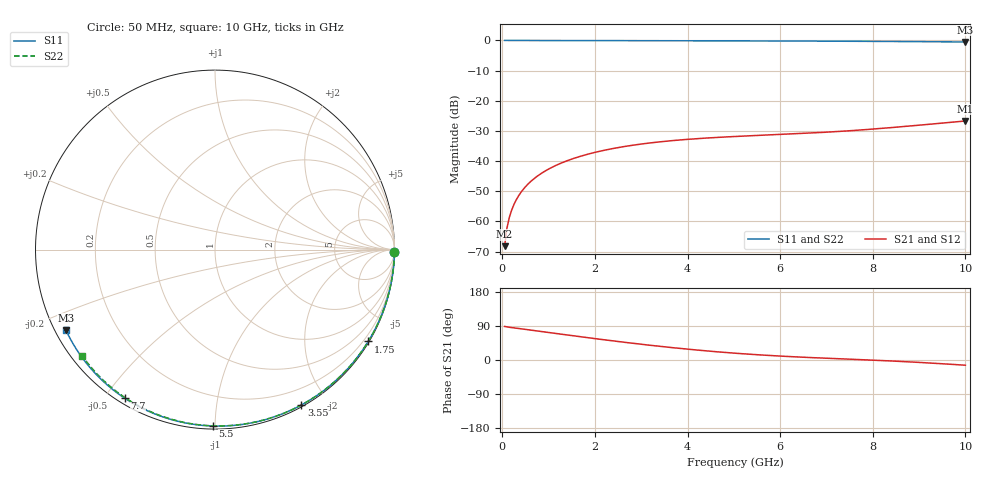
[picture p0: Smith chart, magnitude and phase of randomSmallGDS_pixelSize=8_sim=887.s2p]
! freq	dB(S11)	phase(S11)	dB(S12)	phase(S12)
!  dB(S21)	phase(S21)	dB(S22)	phase(S22)
!S-par simulation data
#  GHz  S  DB  R 50
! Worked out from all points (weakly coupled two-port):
!   200 points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, 50 MHz to 10 GHz, reference 50 ohm
!   highest |S21| = -26.70 dB at 10 GHz (marker M1); lowest = -68.2 dB at 50 MHz (marker M2)
!   lowest |S11| = -0.5 dB at 10 GHz (marker M3), VSWR 34.72, Z = 1.53 - j12.6 ohm
!   |S11| at or under -10 dB: nowhere
!   |S22| runs from -0.5 to 0.0 dB; largest |S21 - S12| = 0
!   S11 on the Smith chart (normalised r, x): 50 MHz: open; 1.75 GHz: 0.03, -3.61; 3.55 GHz: 0.02, -1.70; 5.5 GHz: 0.02, -0.99; 7.7 GHz: 0.02, -0.56; 10 GHz: 0.03, -0.25
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0.05  -0.00 -0.9  -68.21 88.5  -68.21 88.5  -0.00 -0.8
0.1  -0.00 -1.8  -62.26 87.3  -62.26 87.3  -0.00 -1.7
0.15  -0.00 -2.7  -58.80 86.4  -58.80 86.4  -0.00 -2.5
0.2  -0.00 -3.6  -56.35 85.5  -56.35 85.5  -0.00 -3.3
0.25  -0.00 -4.5  -54.44 84.7  -54.44 84.7  -0.00 -4.2
0.35  -0.00 -6.3  -51.57 83.2  -51.57 83.2  -0.00 -5.8
0.5  -0.01 -9.0  -48.52 80.8  -48.52 80.8  -0.01 -8.3
0.7  -0.01 -12.5  -45.65 77.6  -45.65 77.6  -0.01 -11.6
1  -0.02 -17.8  -42.64 72.6  -42.64 72.6  -0.02 -16.5
1.35  -0.03 -24.0  -40.18 66.9  -40.18 66.9  -0.03 -22.2
1.75  -0.04 -30.9  -38.12 60.4  -38.12 60.4  -0.04 -28.7
2.5  -0.06 -43.7  -35.52 48.8  -35.52 48.8  -0.05 -40.6
3.4  -0.08 -58.5  -33.62 36.1  -33.62 36.1  -0.07 -54.4
3.55  -0.08 -60.9  -33.39 34.2  -33.39 34.2  -0.08 -56.7
4.3  -0.10 -72.7  -32.47 25.2  -32.47 25.2  -0.10 -67.7
5.05  -0.13 -84.1  -31.82 17.7  -31.82 17.7  -0.12 -78.3
5.5  -0.15 -90.7  -31.51 13.9  -31.51 13.9  -0.14 -84.6
6.7  -0.21 -107.7  -30.67 6.2  -30.67 6.2  -0.20 -100.5
7.7  -0.28 -121.3  -29.73 1.2  -29.73 1.2  -0.26 -113.2
8.35  -0.33 -129.9  -28.96 -2.3  -28.96 -2.3  -0.31 -121.2
9.2  -0.41 -141.1  -27.82 -7.7  -27.82 -7.7  -0.39 -131.6
10  -0.50 -151.6  -26.70 -13.8  -26.70 -13.8  -0.47 -141.3
